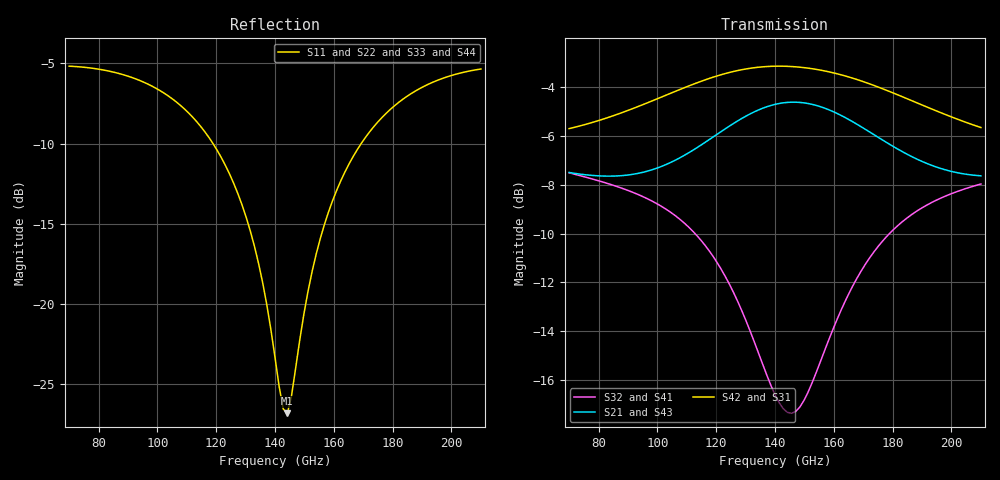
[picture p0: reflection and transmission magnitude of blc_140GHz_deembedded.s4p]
! Created with skrf 2.2.0 (http://scikit-rf.org).
# GHz S DB R 50.0
! Port[1] = P1
! Port[2] = P2
! Port[3] = P3
! Port[4] = P4
!freq dBS11 angS11 dBS12 angS12 dBS13 angS13
! dBS14 angS14
! dBS21 angS21 dBS22 angS22 dBS23 angS23
! dBS24 angS24
! dBS31 angS31 dBS32 angS32 dBS33 angS33
! dBS34 angS34
! dBS41 angS41 dBS42 angS42 dBS43 angS43
! dBS44 angS44
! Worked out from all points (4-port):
!   101 points, 70 GHz to 210 GHz, reference 50 ohm
!   strongest paths, dB at 70 GHz, 105 GHz, 140 GHz, 175 GHz, 210 GHz:
!     S42: -5.7, -4.2, -3.1, -4.0, -5.7
!     S31: -5.7, -4.2, -3.1, -4.0, -5.7
!     S21: -7.5, -7.1, -4.7, -6.1, -7.6
!     S43: -7.5, -7.1, -4.7, -6.1, -7.6
!     S32: -7.5, -9.2, -16.6, -10.5, -8.0
!     S41: -7.5, -9.2, -16.6, -10.5, -8.0
!   lowest |S11| = -26.8 dB at 144.2 GHz (marker M1), VSWR 1.10, Z = 54.7 - j0.943 ohm
!   |S11| at or under -10 dB: 118.9 GHz to 169.3 GHz (50.4 GHz wide, 35 % of centre)
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70  -5.17 159.3  -7.50 -47.2  -5.70 -78.9  -7.52 -61.3
    -7.50 -47.2  -5.17 159.3  -7.51 -61.3  -5.70 -78.9
    -5.70 -78.9  -7.51 -61.3  -5.17 159.3  -7.50 -47.2
    -7.52 -61.3  -5.70 -78.9  -7.50 -47.2  -5.17 159.3
119  -10.02 110.3  -6.04 -67.2  -3.59 -142.0  -10.96 -107.3
     -6.04 -67.2  -10.01 110.3  -10.95 -107.4  -3.60 -142.0
     -3.59 -142.0  -10.95 -107.4  -10.03 110.2  -6.05 -67.2
     -10.96 -107.3  -3.60 -142.0  -6.05 -67.2  -10.01 110.3
131.6  -15.46 87.1  -5.10 -78.7  -3.23 -162.1  -14.02 -114.0
       -5.10 -78.7  -15.43 87.1  -14.01 -114.1  -3.23 -162.1
       -3.23 -162.1  -14.01 -114.1  -15.47 86.9  -5.10 -78.7
       -14.02 -114.0  -3.23 -162.1  -5.10 -78.7  -15.42 87.1
144.2  -26.84 -10.9  -4.63 -93.6  -3.16 177.2  -17.32 -95.4
       -4.63 -93.6  -26.73 -10.1  -17.32 -95.6  -3.15 177.3
       -3.16 177.2  -17.32 -95.6  -26.72 -11.4  -4.64 -93.6
       -17.32 -95.4  -3.15 177.3  -4.64 -93.6  -26.81 -9.9
154  -16.90 -87.1  -4.75 -105.7  -3.28 161.3  -15.67 -73.6
     -4.75 -105.7  -16.92 -86.7  -15.69 -73.7  -3.28 161.3
     -3.28 161.3  -15.69 -73.7  -16.86 -87.0  -4.76 -105.7
     -15.67 -73.6  -3.28 161.3  -4.76 -105.7  -16.95 -86.9
166.6  -10.80 -111.6  -5.44 -119.3  -3.65 141.4  -12.09 -73.0
       -5.44 -119.3  -10.81 -111.4  -12.11 -73.0  -3.65 141.5
       -3.65 141.4  -12.11 -73.0  -10.78 -111.5  -5.44 -119.3
       -12.09 -73.0  -3.65 141.5  -5.44 -119.3  -10.82 -111.5
210  -5.35 -157.0  -7.64 -142.4  -5.67 83.4  -7.96 -113.9
     -7.64 -142.4  -5.35 -156.8  -7.97 -113.9  -5.66 83.4
     -5.67 83.4  -7.97 -113.9  -5.34 -156.9  -7.63 -142.4
     -7.96 -113.9  -5.66 83.4  -7.63 -142.4  -5.36 -157.0
